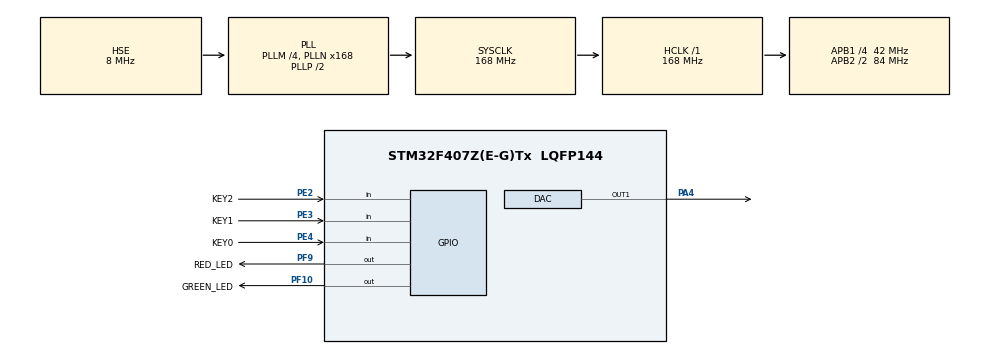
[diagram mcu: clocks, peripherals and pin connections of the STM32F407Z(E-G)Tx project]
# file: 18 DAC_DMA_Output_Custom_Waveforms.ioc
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DAC.DAC_Trigger=DAC_TRIGGER_T6_TRGO
DAC.WaveGeneration=DISABLE
Dma.DAC1.0.Direction=DMA_MEMORY_TO_PERIPH
Dma.DAC1.0.FIFOMode=DMA_FIFOMODE_DISABLE
Dma.DAC1.0.Instance=DMA1_Stream5
Dma.DAC1.0.MemDataAlignment=DMA_MDATAALIGN_WORD
Dma.DAC1.0.MemInc=DMA_MINC_ENABLE
Dma.DAC1.0.Mode=DMA_CIRCULAR
Dma.DAC1.0.PeriphDataAlignment=DMA_PDATAALIGN_WORD
Dma.DAC1.0.PeriphInc=DMA_PINC_DISABLE
Dma.DAC1.0.Priority=DMA_PRIORITY_LOW
Dma.Request0=DAC1
Mcu.Family=STM32F4
Mcu.Name=STM32F407Z(E-G)Tx
Mcu.Package=LQFP144
NVIC.DMA1_Stream5_IRQn=true\:1\:0\:true\:false\:true\:false\:true\:true
NVIC.PriorityGroup=NVIC_PRIORITYGROUP_4
PA13.Mode=Serial_Wire
PA13.Signal=SYS_JTMS-SWDIO
PA14.Mode=Serial_Wire
PA14.Signal=SYS_JTCK-SWCLK
PA4.Signal=COMP_DAC1_group
PC14-OSC32_IN.Mode=LSE-External-Oscillator
PC14-OSC32_IN.Signal=RCC_OSC32_IN
PC15-OSC32_OUT.Mode=LSE-External-Oscillator
PC15-OSC32_OUT.Signal=RCC_OSC32_OUT
PE2.GPIO_Label=KEY2
PE2.GPIO_PuPd=GPIO_PULLUP
PE2.Signal=GPIO_Input
PE3.GPIO_Label=KEY1
PE3.GPIO_PuPd=GPIO_PULLUP
PE3.Signal=GPIO_Input
PE4.GPIO_Label=KEY0
PE4.GPIO_PuPd=GPIO_PULLUP
PE4.Signal=GPIO_Input
PF10.GPIO_Label=GREEN_LED
PF10.PinState=GPIO_PIN_SET
PF10.Signal=GPIO_Output
PF9.GPIO_Label=RED_LED
PF9.GPIO_PuPd=GPIO_NOPULL
PF9.PinState=GPIO_PIN_SET
PF9.Signal=GPIO_Output
PH0-OSC_IN.Mode=HSE-External-Oscillator
PH0-OSC_IN.Signal=RCC_OSC_IN
PH1-OSC_OUT.Mode=HSE-External-Oscillator
PH1-OSC_OUT.Signal=RCC_OSC_OUT
ProjectManager.HeapSize=0x200
ProjectManager.StackSize=0x400
ProjectManager.TargetToolchain=MDK-ARM V5.32
RCC.48MHZClocksFreq_Value=84000000
RCC.AHBFreq_Value=168000000
RCC.APB1CLKDivider=RCC_HCLK_DIV4
RCC.APB1Freq_Value=42000000
RCC.APB1TimFreq_Value=84000000
RCC.APB2CLKDivider=RCC_HCLK_DIV2
RCC.APB2Freq_Value=84000000
RCC.APB2TimFreq_Value=168000000
RCC.CortexFreq_Value=168000000
RCC.HCLKFreq_Value=168000000
RCC.HSE_VALUE=8000000
RCC.HSI_VALUE=16000000
RCC.PLLM=4
RCC.PLLN=168
RCC.PLLSourceVirtual=RCC_PLLSOURCE_HSE
RCC.SYSCLKFreq_VALUE=168000000
RCC.SYSCLKSource=RCC_SYSCLKSOURCE_PLLCLK
RCC.VCOOutputFreq_Value=336000000
SH.COMP_DAC1_group.0=DAC_OUT1,DAC_OUT1
TIM6.Period=9
TIM6.Prescaler=839
TIM6.TIM_MasterOutputTrigger=TIM_TRGO_UPDATE
VP_TIM6_VS_ClockSourceINT.Mode=Enable_Timer
board=custom

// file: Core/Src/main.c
/* USER CODE BEGIN Header */
/**
  ******************************************************************************
  * @file           : main.c
  * @brief          : Main program body
  ******************************************************************************
  * @attention
  *
  * Copyright (c) 2023 STMicroelectronics.
  * All rights reserved.
  *
  * This software is licensed under terms that can be found in the LICENSE file
  * in the root directory of this software component.
  * If no LICENSE file comes with this software, it is provided AS-IS.
  *
  ******************************************************************************
  */
/* USER CODE END Header */
#include "main.h"
#include "dac.h"
#include "dma.h"
#include "tim.h"
#include "gpio.h"

/* USER CODE BEGIN PV */
/* 正弦波数据，12bit，1个周期128个点, 0-4095之间变化 */
const uint32_t userWave[] =
{
	2047, 2147,	2248,	2347,	2446,	2544,	2641,	2737,
	2830, 2922,	3012,	3099,	3184,	3266,	3346,	3422,
	3494, 3564,	3629,	3691,	3749,	3803,	3852,	3897,
	3938,	3974,	4006,	4033,	4055,	4072,	4084,	4092,
	4094,	4092,	4084,	4072,	4055,	4033,	4006,	3974,
	3938,	3897,	3852,	3803,	3749,	3691,	3629,	3564,
	3494,	3422,	3346,	3266,	3184,	3099,	3012,	2922,
	2830,	2737,	2641,	2544,	2446,	2347,	2248,	2147,
	2047,	1947,	1846,	1747,	1648,	1550,	1453,	1357,
	1264,	1172,	1082,	995 ,	910 ,	828 ,	748 ,	672 ,
	600 ,	530 ,	465 ,	403 ,	345 ,	291 ,	242 ,	197 ,
	156 ,	120 ,	88  ,	61  ,	39  ,	22  ,	10  ,	2   ,
	0   ,	2   ,	10  ,	22  ,	39  ,	61  ,	88  ,	120 ,
	156 , 197 ,	242 ,	291 ,	345 ,	403 ,  465,	530 ,
	600 , 672 ,	748 ,	828 ,	910 ,	995 ,	1082,	1172,
	1264,	1357,	1453, 1550,	1648,	1747,	1846,	1947
};

/* USER CODE END PV */

void SystemClock_Config(void);

int main(void)
{

  /* MCU Configuration--------------------------------------------------------*/

  /* Reset of all peripherals, Initializes the Flash interface and the Systick. */
  HAL_Init();

  /* Configure the system clock */
  SystemClock_Config();

  /* Initialize all configured peripherals */
  MX_GPIO_Init();
  MX_DMA_Init();
  MX_DAC_Init();
  MX_TIM6_Init();
  /* USER CODE BEGIN 2 */
	HAL_DAC_Start_DMA(&hdac,DAC_CHANNEL_1,userWave,128,DAC_ALIGN_12B_R);
	HAL_TIM_Base_Start(&htim6);
  /* USER CODE END 2 */

  /* Infinite loop */
  while (1)
  {

  }
}

void SystemClock_Config(void)
{
  RCC_OscInitTypeDef RCC_OscInitStruct = {0};
  RCC_ClkInitTypeDef RCC_ClkInitStruct = {0};

  /** Configure the main internal regulator output voltage
  */
  __HAL_RCC_PWR_CLK_ENABLE();
  __HAL_PWR_VOLTAGESCALING_CONFIG(PWR_REGULATOR_VOLTAGE_SCALE1);

  /** Initializes the RCC Oscillators according to the specified parameters
  * in the RCC_OscInitTypeDef structure.
  */
  RCC_OscInitStruct.OscillatorType = RCC_OSCILLATORTYPE_HSE;
  RCC_OscInitStruct.HSEState = RCC_HSE_ON;
  RCC_OscInitStruct.PLL.PLLState = RCC_PLL_ON;
  RCC_OscInitStruct.PLL.PLLSource = RCC_PLLSOURCE_HSE;
  RCC_OscInitStruct.PLL.PLLM = 4;
  RCC_OscInitStruct.PLL.PLLN = 168;
  RCC_OscInitStruct.PLL.PLLP = RCC_PLLP_DIV2;
  RCC_OscInitStruct.PLL.PLLQ = 4;
  if (HAL_RCC_OscConfig(&RCC_OscInitStruct) != HAL_OK)
  {
    Error_Handler();
  }

  /** Initializes the CPU, AHB and APB buses clocks
  */
  RCC_ClkInitStruct.ClockType = RCC_CLOCKTYPE_HCLK|RCC_CLOCKTYPE_SYSCLK
                              |RCC_CLOCKTYPE_PCLK1|RCC_CLOCKTYPE_PCLK2;
  RCC_ClkInitStruct.SYSCLKSource = RCC_SYSCLKSOURCE_PLLCLK;
  RCC_ClkInitStruct.AHBCLKDivider = RCC_SYSCLK_DIV1;
  RCC_ClkInitStruct.APB1CLKDivider = RCC_HCLK_DIV4;
  RCC_ClkInitStruct.APB2CLKDivider = RCC_HCLK_DIV2;

  if (HAL_RCC_ClockConfig(&RCC_ClkInitStruct, FLASH_LATENCY_5) != HAL_OK)
  {
    Error_Handler();
  }
}

void Error_Handler(void)
{
  __disable_irq();
  while (1)
  {
  }
}
